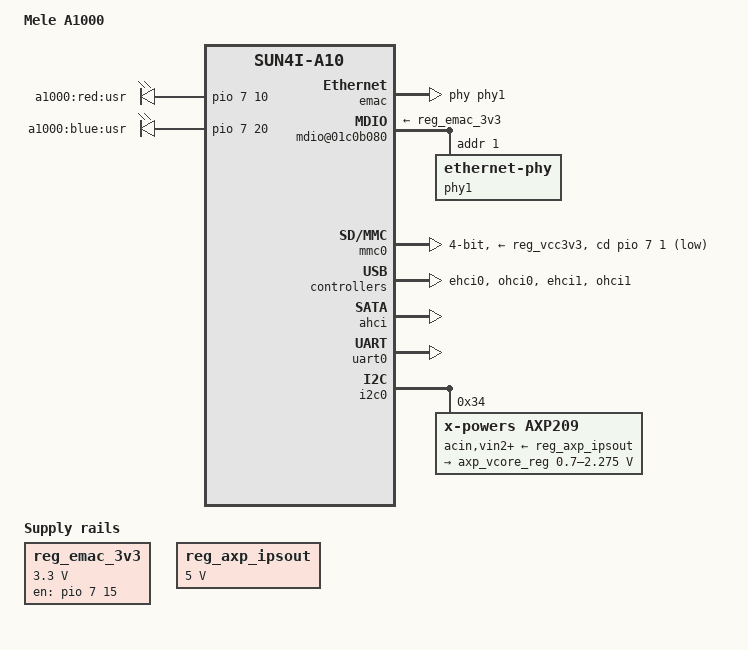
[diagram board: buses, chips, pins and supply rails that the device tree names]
/*
 * Copyright 2013 Emilio López
 *
 * Emilio López <emilio@elopez.com.ar>
 *
 * The code contained herein is licensed under the GNU General Public
 * License. You may obtain a copy of the GNU General Public License
 * Version 2 or later at the following locations:
 *
 * http://www.opensource.org/licenses/gpl-license.html
 * http://www.gnu.org/copyleft/gpl.html
 */

/dts-v1/;
/include/ "sun4i-a10.dtsi"
/include/ "sunxi-common-regulators.dtsi"

/ {
	model = "Mele A1000";
	compatible = "mele,a1000", "allwinner,sun4i-a10";

	soc@01c00000 {
		emac: ethernet@01c0b000 {
			pinctrl-names = "default";
			pinctrl-0 = <&emac_pins_a>;
			phy = <&phy1>;
			status = "okay";
		};

		mdio@01c0b080 {
			phy-supply = <&reg_emac_3v3>;
			status = "okay";

			phy1: ethernet-phy@1 {
				reg = <1>;
			};
		};

		mmc0: mmc@01c0f000 {
			pinctrl-names = "default";
			pinctrl-0 = <&mmc0_pins_a>, <&mmc0_cd_pin_reference_design>;
			vmmc-supply = <&reg_vcc3v3>;
			bus-width = <4>;
			cd-gpios = <&pio 7 1 0>; /* PH1 */
			cd-inverted;
			status = "okay";
		};

		usbphy: phy@01c13400 {
			usb1_vbus-supply = <&reg_usb1_vbus>;
			usb2_vbus-supply = <&reg_usb2_vbus>;
			status = "okay";
		};

		ehci0: usb@01c14000 {
			status = "okay";
		};

		ohci0: usb@01c14400 {
			status = "okay";
		};

		ahci: sata@01c18000 {
			status = "okay";
		};

		ehci1: usb@01c1c000 {
			status = "okay";
		};

		ohci1: usb@01c1c400 {
			status = "okay";
		};

		pinctrl@01c20800 {
			emac_power_pin_a1000: emac_power_pin@0 {
				allwinner,pins = "PH15";
				allwinner,function = "gpio_out";
				allwinner,drive = <0>;
				allwinner,pull = <0>;
			};

			led_pins_a1000: led_pins@0 {
				allwinner,pins = "PH10", "PH20";
				allwinner,function = "gpio_out";
				allwinner,drive = <0>;
				allwinner,pull = <0>;
			};
		};

		uart0: serial@01c28000 {
			pinctrl-names = "default";
			pinctrl-0 = <&uart0_pins_a>;
			status = "okay";
		};

		i2c0: i2c@01c2ac00 {
			pinctrl-names = "default";
			pinctrl-0 = <&i2c0_pins_a>;
			status = "okay";

			axp209: pmic@34 {
				compatible = "x-powers,axp209";
				reg = <0x34>;
				interrupts = <0>;

				interrupt-controller;
				#interrupt-cells = <1>;

				acin-supply = <&reg_axp_ipsout>;
				vin2-supply = <&reg_axp_ipsout>;
				vin3-supply = <&reg_axp_ipsout>;
				ldo24in-supply = <&reg_axp_ipsout>;
				ldo3in-supply = <&reg_axp_ipsout>;
				ldo5in-supply = <&reg_axp_ipsout>;

				regulators {
					x-powers,dcdc-freq = <1500>;

					axp_vcore_reg: dcdc2 {
						regulator-min-microvolt = <700000>;
						regulator-max-microvolt = <2275000>;
						regulator-always-on;
					};

					axp_ddr_reg: dcdc3 {
						regulator-always-on;
					};

					axp_rtc_reg: ldo1 {
						regulator-always-on;
					};

					axp_analog_reg: ldo2 {
						regulator-always-on;
					};

					axp_pll_reg: ldo3 {
						regulator-always-on;
					};

					axp_hdmi_reg: ldo4 {
						regulator-always-on;
					};

					axp_mic_reg: ldo5 {
						regulator-always-on;
					};
				};
			};
		};
	};

	leds {
		compatible = "gpio-leds";
		pinctrl-names = "default";
		pinctrl-0 = <&led_pins_a1000>;

		red {
			label = "a1000:red:usr";
			gpios = <&pio 7 10 0>;
		};

		blue {
			label = "a1000:blue:usr";
			gpios = <&pio 7 20 0>;
		};
	};

	reg_emac_3v3: emac-3v3 {
		compatible = "regulator-fixed";
		pinctrl-names = "default";
		pinctrl-0 = <&emac_power_pin_a1000>;
		regulator-name = "emac-3v3";
		regulator-min-microvolt = <3300000>;
		regulator-max-microvolt = <3300000>;
		enable-active-high;
		gpio = <&pio 7 15 0>;
	};

	reg_usb1_vbus: usb1-vbus {
		status = "okay";
	};

	reg_usb2_vbus: usb2-vbus {
		status = "okay";
	};

	reg_axp_ipsout: axp_ipsout {
		compatible = "regulator-fixed";
		regulator-name = "axp-ipsout";
		regulator-min-microvolt = <5000000>;
		regulator-max-microvolt = <5000000>;
		regulator-always-on;
	};
};
